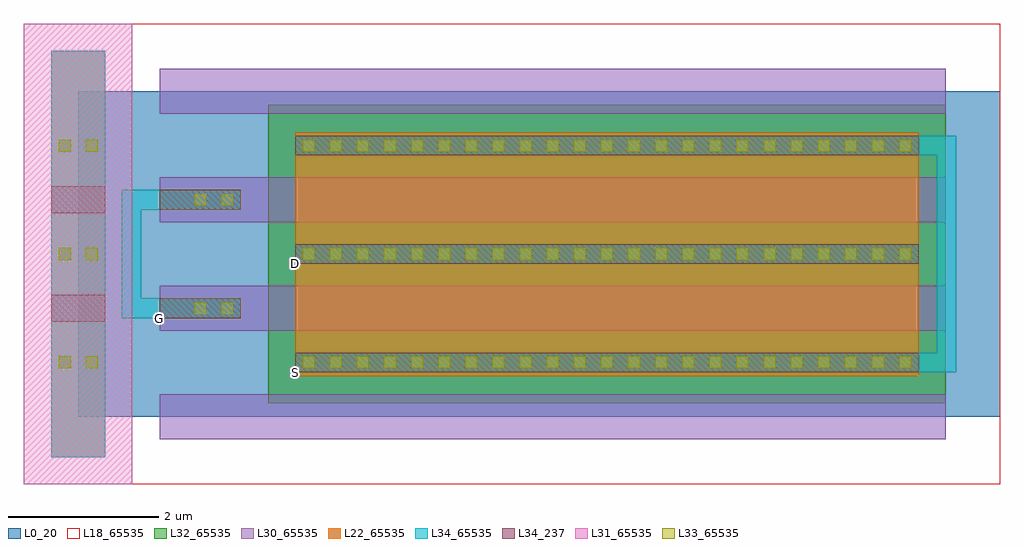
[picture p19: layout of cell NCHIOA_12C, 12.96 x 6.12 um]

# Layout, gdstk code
import gdstk
lib = gdstk.Library(unit=1e-6, precision=1e-09)
def R(c, l, rs):  # rectangles x0, y0, x1, y1
    for r in rs: c.add(gdstk.rectangle(r[:2], r[2:], *l))
def A(c, l, x, y, w, h, nx, ny, dx, dy):  # array of equal rectangles
    R(c, l, [(x+i*dx, y+j*dy, x+i*dx+w, y+j*dy+h) for i in range(nx) for j in range(ny)])
L0_20 = (0, 20)
L18_65535 = (18, 65535)
L22_65535 = (22, 65535)
L30_65535 = (30, 65535)
L31_65535 = (31, 65535)
L32_65535 = (32, 65535)
L33_65535 = (33, 65535)
L34_237 = (34, 237)
L34_65535 = (34, 65535)

nchio_12c = lib.new_cell('NCHIO_12C')
R(nchio_12c, L0_20, [(0,0,12.24,2.88)])
R(nchio_12c, L18_65535, [(-0.72,-0.9,12.24,3.78)])
A(nchio_12c, L22_65535, -0.36, -0.54, 0.72, 0.36, 1, 11, 0, 0.36)
A(nchio_12c, L22_65535, 2.88, 0.54, 8.28, 0.36, 1, 5, 0, 0.36)
A(nchio_12c, L30_65535, 1.08, -0.3, 10.44, 0.6, 1, 3, 0, 1.44)
R(nchio_12c, L31_65535, [(-0.72,-0.9,0.72,3.78)])
R(nchio_12c, L32_65535, [(2.52,0.18,11.52,2.7)])
A(nchio_12c, L33_65535, 2.98, 0.64, 0.16, 0.16, 23, 2, 0.36, 1.44)
R(nchio_12c, L33_65535, [(-0.26,0.64,-0.1,0.8), (0.1,0.64,0.26,0.8), (1.54,1.36,1.7,1.52), (1.9,1.36,2.06,1.52), (-0.26,2.08,-0.1,2.24), (0.1,2.08,0.26,2.24)])
R(nchio_12c, L34_237, [(2.88,0.59,11.16,0.85), (-0.36,1.26,0.36,1.62), (1.08,1.31,2.16,1.57), (2.88,2.03,11.16,2.29)])
A(nchio_12c, L34_65535, -0.36, -0.54, 0.72, 0.36, 1, 11, 0, 0.36)
R(nchio_12c, L34_65535, [(2.88,0.59,11.16,0.85), (1.08,1.31,2.16,1.57), (2.88,2.03,11.16,2.29)])
nchio_12c.add(gdstk.Label('G', (1.08,1.31), layer=34, texttype=237))
nchio_12c.add(gdstk.Label('S', (2.88,0.59), layer=34, texttype=237))
nchio_12c.add(gdstk.Label('B', (-0.36,1.26), layer=34, texttype=237))
nchio_12c.add(gdstk.Label('D', (2.88,2.03), layer=34, texttype=237))

nchioa_12c = lib.new_cell('NCHIOA_12C')
R(nchioa_12c, L0_20, [(0,0,12.24,4.32)])
R(nchioa_12c, L34_237, [(2.88,0.59,11.16,0.85), (1.08,1.31,2.16,1.57), (2.88,2.03,11.16,2.29)])
R(nchioa_12c, L34_65535, [(7.02,0.59,11.4,0.85), (11.4,0.59,11.66,3.73), (0.58,1.31,1.62,1.57), (0.58,1.31,0.84,3.01), (0.58,2.75,1.62,3.01), (7.02,3.47,11.4,3.73)])
nchioa_12c.add(gdstk.Reference(nchio_12c, (0,0)))
nchioa_12c.add(gdstk.Reference(nchio_12c, (0,1.44)))
nchioa_12c.add(gdstk.Label('S', (2.88,0.59), layer=58, texttype=65535))
nchioa_12c.add(gdstk.Label('G', (1.08,1.31), layer=58, texttype=65535))
nchioa_12c.add(gdstk.Label('D', (2.88,2.03), layer=34, texttype=237))
nchioa_12c.add(gdstk.Label('G', (1.08,1.31), layer=34, texttype=237))
nchioa_12c.add(gdstk.Label('S', (2.88,0.59), layer=34, texttype=237))

lib.write_gds('NCHIOA_12C.gds')
